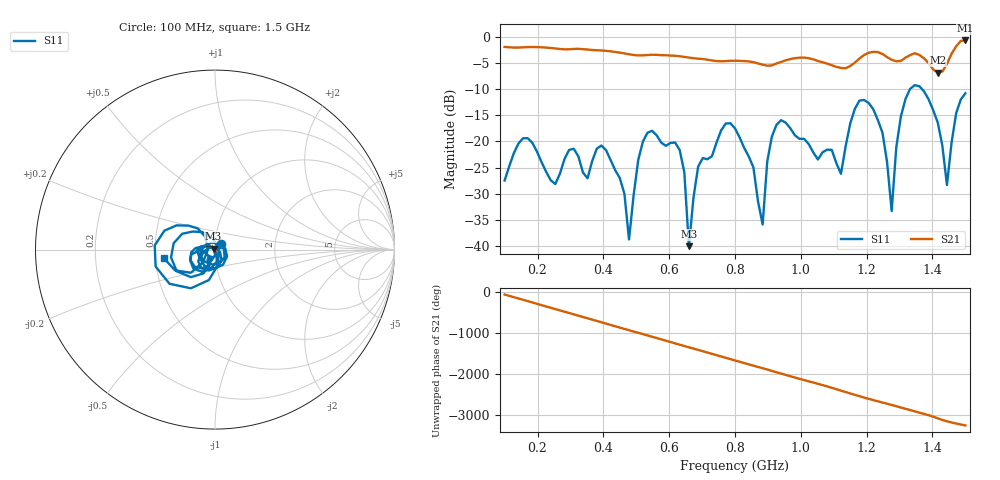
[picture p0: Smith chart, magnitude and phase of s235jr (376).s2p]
! NanoVNA-App
! Date: 2025-09-25 15:07:05
! Start: 100MHz Stop: 1,5GHz Points: 101
! S-Parameter data: F S11 S21 S12 S22
# Hz S RI R 50
!  Frequency  S11_Real  S11_Imag  S21_Real  S21_Imag  S12_Real  S12_Imag  S22_Real  S22_Imag
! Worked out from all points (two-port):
!   101 points, 100 MHz to 1.5 GHz, reference 50 ohm
!   highest |S21| = -0.73 dB at 1.5 GHz (marker M1); lowest = -6.9 dB at 1.416 GHz (marker M2)
!   |S21| within 3 dB of the highest: start of sweep to 629.5 MHz; 1.188 GHz to 1.258 GHz (70.22 MHz wide, 5.74 % of centre) (the widest 2 of 4)
!   lowest |S11| = -40.0 dB at 660 MHz (marker M3), VSWR 1.02, Z = 49.2 + j0.569 ohm
!   |S11| at or under -10 dB: start of sweep to 1.332 GHz; 1.368 GHz to end of sweep
!   S12 and S22 are empty: the file has one direction only
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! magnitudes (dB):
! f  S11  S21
! 100 MHz  -27.5  -2.0
! 156 MHz  -19.4  -2.0
! 338 MHz  -25.9  -2.4
! 408 MHz  -21.7  -2.7
! 478 MHz  -38.7  -3.4
! 520 MHz  -20.1  -3.6
! 576 MHz  -20.2  -3.5
! 632 MHz  -21.7  -3.7
! 660 MHz  -40.0  -4.0
! 688 MHz  -24.8  -4.2
! 800 MHz  -17.5  -4.6
! 884 MHz  -35.9  -5.4
! 926 MHz  -16.8  -5.1
! 1.038 GHz  -22.1  -4.3
! 1.122 GHz  -26.2  -6.0
! 1.206 GHz  -12.7  -3.1
! 1.248 GHz  -18.3  -3.3
! 1.276 GHz  -33.3  -4.4
! 1.332 GHz  -10.0  -3.5
! 1.416 GHz  -16.4  -6.9
! 1.444 GHz  -28.3  -5.2
! 1.5 GHz  -10.8  -0.7
